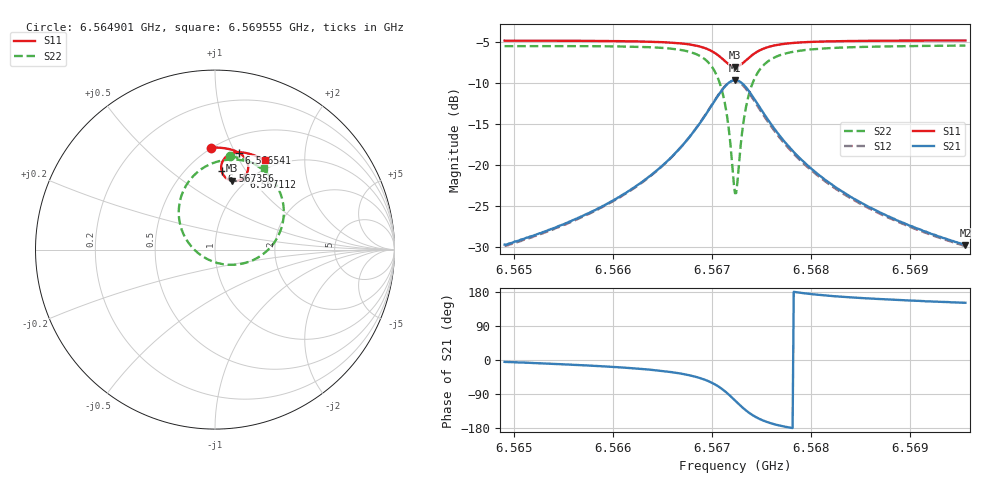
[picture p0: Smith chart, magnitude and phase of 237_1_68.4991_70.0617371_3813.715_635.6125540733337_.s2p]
#  HZ  S  RI  R  50.00
! Rohde & Schwarz Vector Network Analyzer
! Rohde-Schwarz,ZNB20-2Port,1311601062101988,3.16
! Created: UTC 3/20/2024, 5:14:17 PM
! freq[Hz]  re:S11  im:S11  re:S21  im:S21  re:S12  im:S12  re:S22  im:S22
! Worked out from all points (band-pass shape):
!   401 points, 6.564901 GHz to 6.569555 GHz, reference 50 ohm
!   highest |S21| = -9.69 dB at 6.567228 GHz (marker M1); lowest = -29.7 dB at 6.569555 GHz (marker M2)
!   |S21| within 3 dB of the highest: 6.566997 GHz to 6.567462 GHz (465.1 kHz wide, 0.00708 % of centre)
!   lowest |S11| = -8.1 dB at 6.567228 GHz (marker M3), VSWR 2.30, Z = 43.5 + j39.5 ohm
!   |S11| at or under -10 dB: nowhere
!   |S22| runs from -23.4 to -5.5 dB; largest |S21 - S12| = 0.017
!   S11 on the Smith chart (normalised r, x): 6.564901 GHz: 0.50, +0.83; 6.566541 GHz: 0.66, +1.04; 6.567112 GHz: 0.94, +0.94; 6.567356 GHz: 0.72, +0.78; 6.569555 GHz: 0.87, +1.29
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6.564901e9  -0.0203 0.5688  0.0328 -0.00286  0.0321 -0.00338  0.0828 0.5205
6.5656805e9  0.0457 0.5658  0.0474 -0.0116  0.0466 -0.0122  0.1633 0.5011
6.5660994e9  0.0852 0.5585  0.0623 -0.0226  0.0613 -0.0235  0.2189 0.4765
6.56646e9  0.1242 0.5445  0.0839 -0.0448  0.0827 -0.0457  0.2831 0.4312
6.5665415e9  0.134 0.5391  0.0907 -0.0536  0.0893 -0.0546  0.3013 0.4138
6.5667742e9  0.1647 0.5133  0.1132 -0.0974  0.1115 -0.0996  0.3583 0.3277
6.5669371e9  0.1833 0.4754  0.1218 -0.1642  0.1183 -0.1679  0.3834 0.1992
6.5670418e9  0.1815 0.4351  0.1003 -0.2349  0.0935 -0.2396  0.346 0.0646
6.5671116e9  0.163 0.404  0.0537 -0.2876  0.0425 -0.2911  0.258 -0.0325
6.5671581e9  0.1395 0.3877  0.00218 -0.3134  -0.0118 -0.3139  0.1615 -0.0762
6.5672047e9  0.1087 0.3814  -0.0615 -0.3198  -0.077 -0.3153  0.045 -0.0814
6.5672279e9  0.0923 0.3834  -0.0945 -0.3137  -0.1093 -0.3063  -0.0133 -0.066
6.5672512e9  0.077 0.389  -0.1255 -0.3011  -0.1392 -0.2911  -0.067 -0.0391
6.5673094e9  0.0473 0.4143  -0.1849 -0.2485  -0.1932 -0.2346  -0.1636 0.0624
6.5673559e9  0.0363 0.44  -0.209 -0.1978  -0.2126 -0.1836  -0.1972 0.1546
6.567449e9  0.0393 0.4848  -0.2107 -0.1117  -0.2085 -0.1007  -0.1854 0.3049
6.5675886e9  0.0669 0.5215  -0.1736 -0.0405  -0.1698 -0.0345  -0.1063 0.4241
6.5677515e9  0.0993 0.5374  -0.1333 -0.00713  -0.1299 -0.00385  -0.0233 0.4776
6.5680075e9  0.1383 0.5422  -0.0933 0.0102  -0.0911 0.0118  0.0642 0.5001
6.5683682e9  0.1793 0.5369  -0.0637 0.0161  -0.0621 0.0169  0.14 0.4991
6.568787e9  0.2177 0.5255  -0.0455 0.017  -0.0444 0.0173  0.1982 0.4865
6.5695549e9  0.2772 0.4988  -0.0285 0.0158  -0.0279 0.016  0.2736 0.4553
